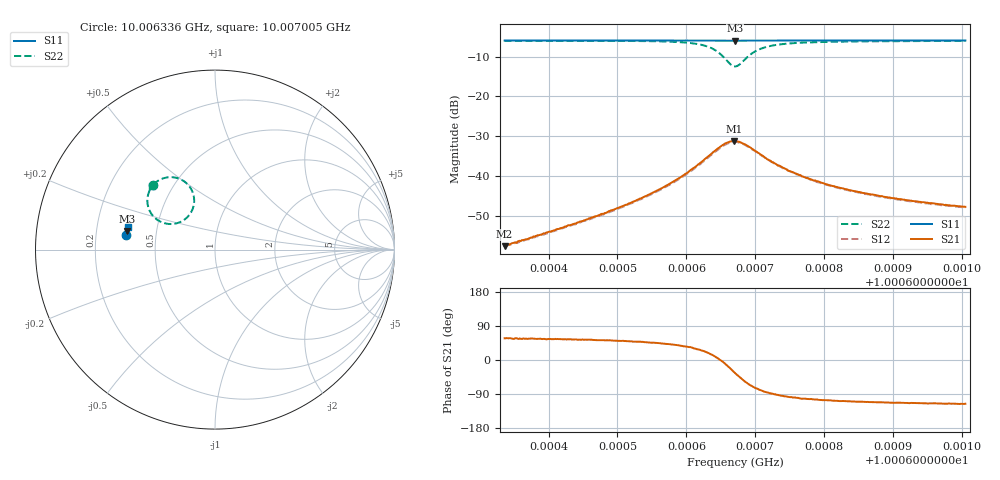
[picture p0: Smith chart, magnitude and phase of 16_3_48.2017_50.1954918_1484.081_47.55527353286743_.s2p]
#  HZ  S  RI  R  50.00
! Rohde & Schwarz Vector Network Analyzer
! Rohde-Schwarz,ZNB20-2Port,1311601062101988,3.16
! Created: UTC 3/20/2024, 11:36:46 AM
! freq[Hz]  re:S11  im:S11  re:S21  im:S21  re:S12  im:S12  re:S22  im:S22
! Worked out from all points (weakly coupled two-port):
!   401 points, 10.006336 GHz to 10.007005 GHz, reference 50 ohm
!   highest |S21| = -31.23 dB at 10.006669 GHz (marker M1); lowest = -57.6 dB at 10.006336 GHz (marker M2)
!   lowest |S11| = -6.0 dB at 10.006671 GHz (marker M3), VSWR 3.00, Z = 16.8 + j4.68 ohm
!   |S11| at or under -10 dB: nowhere
!   |S22| runs from -12.5 to -6.0 dB; largest |S21 - S12| = 0.0021
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1.00063362e10  -0.4952 0.0838  0.00071 0.0011  0.000666 0.00113  -0.345 0.3622
1.00063964e10  -0.4947 0.0879  0.00112 0.00159  0.001 0.00159  -0.3378 0.3687
1.00064483e10  -0.494 0.0912  0.00159 0.00218  0.00148 0.00221  -0.3294 0.3757
1.00065085e10  -0.4935 0.0953  0.00266 0.00326  0.00248 0.00328  -0.3141 0.3856
1.00065603e10  -0.4926 0.0987  0.0048 0.00472  0.00446 0.00479  -0.2887 0.397
1.00065988e10  -0.4918 0.1015  0.00864 0.00616  0.00808 0.00643  -0.2479 0.4039
1.00066289e10  -0.4908 0.1034  0.0157 0.00596  0.0147 0.00639  -0.1825 0.3868
1.00066422e10  -0.4901 0.1044  0.0207 0.00303  0.0198 0.00412  -0.1419 0.3512
1.00066539e10  -0.4895 0.1045  0.0247 -0.00262  0.024 -0.00122  -0.117 0.2896
1.0006664e10  -0.489 0.1044  0.0249 -0.0104  0.0248 -0.00846  -0.1279 0.2182
1.0006669e10  -0.4891 0.1042  0.0235 -0.0142  0.0237 -0.0122  -0.1493 0.1857
1.00066707e10  -0.489 0.1043  0.0226 -0.0154  0.0231 -0.0136  -0.1585 0.1765
1.00066773e10  -0.4892 0.1042  0.0188 -0.019  0.0196 -0.0172  -0.2021 0.15
1.00066857e10  -0.4898 0.1044  0.0132 -0.021  0.0144 -0.0197  -0.2578 0.1428
1.00066991e10  -0.4902 0.1052  0.0061 -0.0199  0.00738 -0.0193  -0.3228 0.1668
1.00067141e10  -0.4906 0.1063  0.00181 -0.0169  0.00279 -0.0167  -0.3582 0.2052
1.00067492e10  -0.4907 0.1091  -0.00156 -0.0114  -0.00092 -0.0115  -0.3769 0.2663
1.00067827e10  -0.4904 0.1113  -0.0021 -0.00869  -0.00159 -0.00865  -0.375 0.2965
1.00068379e10  -0.4898 0.1151  -0.00217 -0.00626  -0.00185 -0.00621  -0.3672 0.3225
1.00068947e10  -0.489 0.1188  -0.00204 -0.00494  -0.00176 -0.00494  -0.3602 0.3369
1.00069549e10  -0.4882 0.1227  -0.00187 -0.00415  -0.00164 -0.00411  -0.354 0.3472
1.00070051e10  -0.4875 0.1261  -0.00176 -0.00369  -0.00156 -0.00367  -0.3498 0.3536
